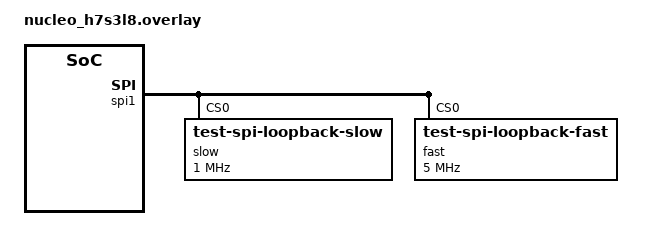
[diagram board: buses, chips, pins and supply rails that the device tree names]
/*
 * Copyright (c) 2026 STMicroelectronics
 *
 * SPDX-License-Identifier: Apache-2.0
 */

&sram2 {
	zephyr,memory-attr = <DT_MEM_ARM(ATTR_MPU_RAM_NOCACHE)>;
	status = "okay";
};

&spi1 {
	dmas = <&gpdma1 0 52 STM32_DMA_PERIPH_TX>,
	       <&gpdma1 1 51 STM32_DMA_PERIPH_RX>;
	dma-names = "tx", "rx";
	fifo-enable;

	slow@0 {
		compatible = "test-spi-loopback-slow";
		reg = <0>;
		spi-max-frequency = <1000000>;
	};

	fast@0 {
		compatible = "test-spi-loopback-fast";
		reg = <0>;
		spi-max-frequency = <5000000>;
	};
};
